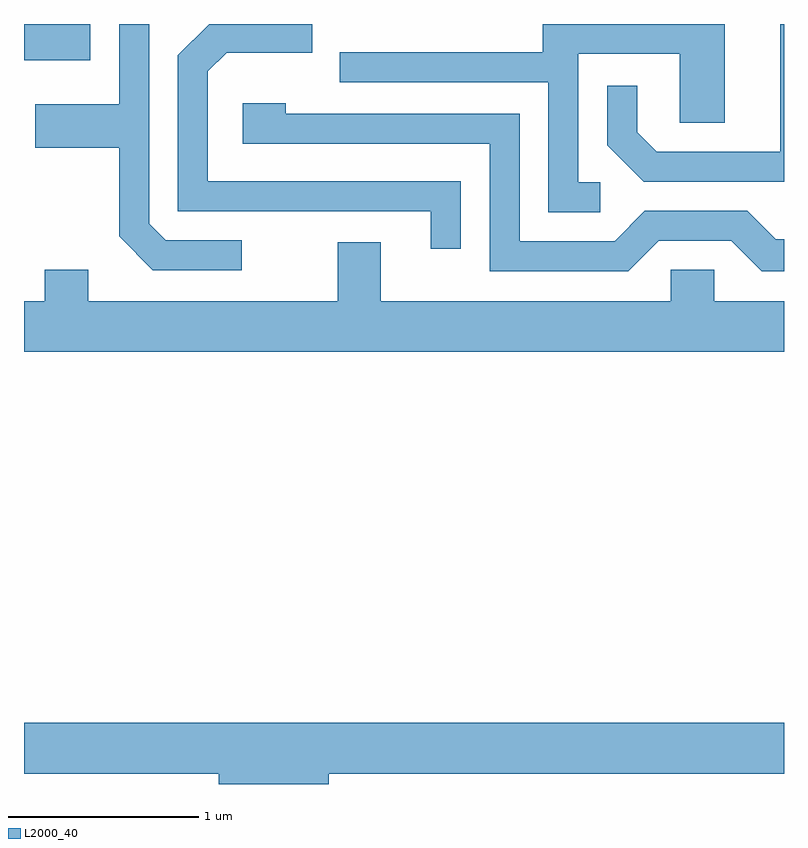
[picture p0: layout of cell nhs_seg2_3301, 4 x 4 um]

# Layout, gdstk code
import gdstk
lib = gdstk.Library(unit=1e-6, precision=1e-09)
def R(c, l, rs):  # rectangles x0, y0, x1, y1
    for r in rs: c.add(gdstk.rectangle(r[:2], r[2:], *l))
def P(c, l, *ps):  # polygons
    for p in ps: c.add(gdstk.Polygon(p, *l))
L2000_40 = (2000, 40)

nhs_seg2_3301 = lib.new_cell('nhs_seg2_3301')
R(nhs_seg2_3301, L2000_40, [(281.611,1067.611,281.959,1067.802)])
P(nhs_seg2_3301, L2000_40, [(284.643,1066.969),(284.529,1066.969),(284.529,1067.646),(285.061,1067.646),(285.061,1067.281),(285.299,1067.281),(285.299,1067.802),(284.341,1067.802),(284.341,1067.654),(283.273,1067.654),(283.273,1067.496),(284.371,1067.496),(284.371,1066.811),(284.643,1066.811)],
  [(282.758,1066.664),(282.357,1066.664),(282.269,1066.752),(282.269,1067.802),(282.111,1067.802),(282.111,1067.379),(281.671,1067.379),(281.671,1067.151),(282.111,1067.151),(282.111,1066.684),(282.289,1066.506),(282.758,1066.506)],
  [(283.909,1066.974),(282.579,1066.974),(282.579,1067.554),(282.677,1067.651),(283.129,1067.651),(283.129,1067.802),(282.587,1067.802),(282.421,1067.637),(282.421,1066.816),(283.751,1066.816),(283.751,1066.618),(283.909,1066.618)],
  [(285.611,1067.802),(285.591,1067.802),(285.591,1067.129),(284.942,1067.129),(284.839,1067.232),(284.839,1067.478),(284.681,1067.478),(284.681,1067.164),(284.874,1066.971),(285.611,1066.971)],
  [(284.952,1066.661),(285.334,1066.661),(285.494,1066.501),(285.611,1066.501),(285.611,1066.669),(285.567,1066.669),(285.417,1066.819),(284.879,1066.819),(284.719,1066.659),(284.219,1066.659),(284.219,1067.329),(282.989,1067.329),(282.989,1067.384),(282.761,1067.384),(282.761,1067.171),(284.061,1067.171),(284.061,1066.501),(284.792,1066.501)],
  [(285.611,1066.344),(285.244,1066.344),(285.244,1066.509),(285.016,1066.509),(285.016,1066.344),(283.489,1066.344),(283.489,1066.654),(283.261,1066.654),(283.261,1066.344),(281.949,1066.344),(281.949,1066.509),(281.721,1066.509),(281.721,1066.344),(281.611,1066.344),(281.611,1066.076),(285.611,1066.076)],
  [(283.214,1063.856),(285.611,1063.856),(285.611,1064.124),(281.611,1064.124),(281.611,1063.856),(282.636,1063.856),(282.636,1063.802),(283.214,1063.802)])

lib.write_gds('nhs_seg2_3301.gds')
